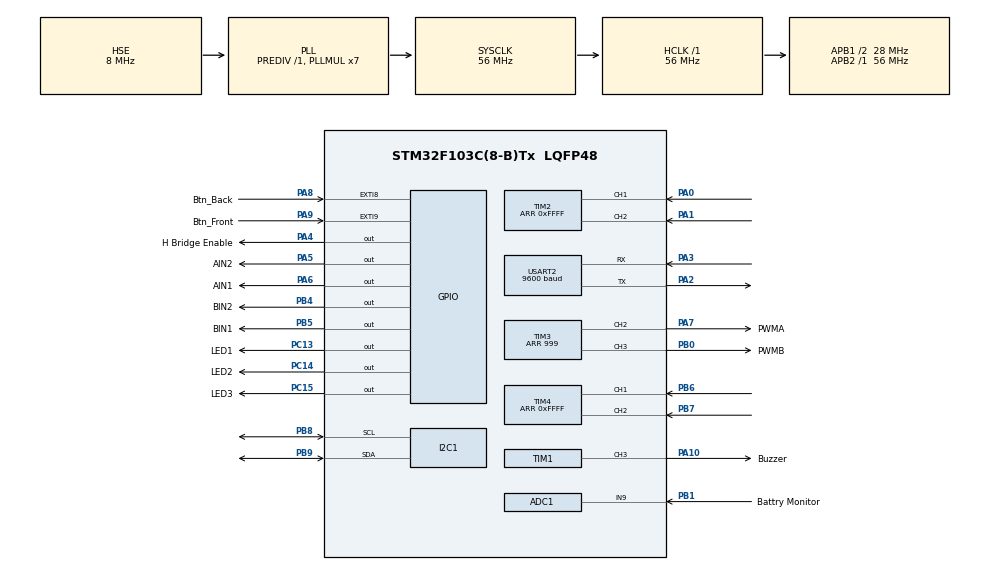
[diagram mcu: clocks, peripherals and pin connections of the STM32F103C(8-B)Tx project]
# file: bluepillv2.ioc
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ADC1.Channel-9\#ChannelRegularConversion=ADC_CHANNEL_9
ADC1.InjNumberOfConversion=0
ADC1.NbrOfConversionFlag=1
ADC1.Rank-9\#ChannelRegularConversion=1
ADC1.SamplingTime-9\#ChannelRegularConversion=ADC_SAMPLETIME_41CYCLES_5
ADC1.master=1
Mcu.Family=STM32F1
Mcu.Name=STM32F103C(8-B)Tx
Mcu.Package=LQFP48
NVIC.EXTI9_5_IRQn=true\:0\:0\:false\:false\:true\:true
NVIC.PriorityGroup=NVIC_PRIORITYGROUP_4
NVIC.USART2_IRQn=true\:0\:0\:false\:false\:true\:true
PA0-WKUP.Signal=S_TIM2_CH1_ETR
PA1.Signal=S_TIM2_CH2
PA10.GPIO_Label=Buzzer
PA10.Signal=S_TIM1_CH3
PA13.Mode=Serial_Wire
PA13.Signal=SYS_JTMS-SWDIO
PA14.Mode=Serial_Wire
PA14.Signal=SYS_JTCK-SWCLK
PA2.Mode=Asynchronous
PA2.Signal=USART2_TX
PA3.Mode=Asynchronous
PA3.Signal=USART2_RX
PA4.GPIO_Label=H Bridge Enable
PA4.Signal=GPIO_Output
PA5.GPIO_Label=AIN2
PA5.Signal=GPIO_Output
PA6.GPIO_Label=AIN1
PA6.Signal=GPIO_Output
PA7.GPIO_Label=PWMA
PA7.Signal=S_TIM3_CH2
PA8.GPIO_Label=Btn_Back
PA8.GPIO_ModeDefaultEXTI=GPIO_MODE_IT_RISING
PA8.Signal=GPXTI8
PA9.GPIO_Label=Btn_Front
PA9.GPIO_ModeDefaultEXTI=GPIO_MODE_IT_FALLING
PA9.Signal=GPXTI9
PB0.GPIO_Label=PWMB
PB0.Signal=S_TIM3_CH3
PB1.GPIO_Label=Battry Monitor
PB1.Signal=ADCx_IN9
PB4.GPIO_Label=BIN2
PB4.Signal=GPIO_Output
PB5.GPIO_Label=BIN1
PB5.Signal=GPIO_Output
PB6.Signal=S_TIM4_CH1
PB7.Signal=S_TIM4_CH2
PB8.Mode=I2C
PB8.Signal=I2C1_SCL
PB9.Mode=I2C
PB9.Signal=I2C1_SDA
PC13-TAMPER-RTC.GPIO_Label=LED1
PC13-TAMPER-RTC.Signal=GPIO_Output
PC14-OSC32_IN.GPIO_Label=LED2
PC14-OSC32_IN.Signal=GPIO_Output
PC15-OSC32_OUT.GPIO_Label=LED3
PC15-OSC32_OUT.Signal=GPIO_Output
PD0-OSC_IN.Mode=HSE-External-Oscillator
PD0-OSC_IN.Signal=RCC_OSC_IN
PD1-OSC_OUT.Mode=HSE-External-Oscillator
PD1-OSC_OUT.Signal=RCC_OSC_OUT
ProjectManager.HeapSize=0x200
ProjectManager.StackSize=0x400
ProjectManager.TargetToolchain=MDK-ARM V5
RCC.ADCPresc=RCC_ADCPCLK2_DIV4
RCC.AHBFreq_Value=56000000
RCC.APB1CLKDivider=RCC_HCLK_DIV2
RCC.APB1Freq_Value=28000000
RCC.APB1TimFreq_Value=56000000
RCC.APB2Freq_Value=56000000
RCC.APB2TimFreq_Value=56000000
RCC.HCLKFreq_Value=56000000
RCC.PLLMUL=RCC_PLL_MUL7
RCC.PLLSourceVirtual=RCC_PLLSOURCE_HSE
RCC.SYSCLKFreq_VALUE=56000000
RCC.SYSCLKSource=RCC_SYSCLKSOURCE_PLLCLK
RCC.USBFreq_Value=56000000
SH.ADCx_IN9.0=ADC1_IN9,IN9
SH.S_TIM1_CH3.0=TIM1_CH3,PWM Generation3 CH3
SH.S_TIM2_CH1_ETR.0=TIM2_CH1,Encoder_Interface
SH.S_TIM2_CH2.0=TIM2_CH2,Encoder_Interface
SH.S_TIM3_CH2.0=TIM3_CH2,PWM Generation2 CH2
SH.S_TIM3_CH3.0=TIM3_CH3,PWM Generation3 CH3
SH.S_TIM4_CH1.0=TIM4_CH1,Encoder_Interface
SH.S_TIM4_CH2.0=TIM4_CH2,Encoder_Interface
TIM1.Channel-PWM\ Generation3\ CH3=TIM_CHANNEL_3
TIM1.Period=255-1
TIM1.Prescaler=855-1
TIM2.EncoderMode=TIM_ENCODERMODE_TI12
TIM2.Period=0xFFFF
TIM3.Channel-PWM\ Generation2\ CH2=TIM_CHANNEL_2
TIM3.Channel-PWM\ Generation3\ CH3=TIM_CHANNEL_3
TIM3.Period=999
TIM4.EncoderMode=TIM_ENCODERMODE_TI12
TIM4.Period=0xFFFF
USART2.BaudRate=9600
USART2.VirtualMode=VM_ASYNC
VP_TIM3_VS_ClockSourceINT.Mode=Internal
board=custom

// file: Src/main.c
/* USER CODE BEGIN Header */
/**
  ******************************************************************************
  * @file           : main.c
  * @brief          : Main program body
  ******************************************************************************
  ** This notice applies to any and all portions of this file
  * that are not between comment pairs USER CODE BEGIN and
  * USER CODE END. Other portions of this file, whether
  * inserted by the user or by software development tools
  * are owned by their respective copyright owners.
  *
  * COPYRIGHT(c) 2019 STMicroelectronics
  *
  * Redistribution and use in source and binary forms, with or without modification,
  * are permitted provided that the following conditions are met:
  *   1. Redistributions of source code must retain the above copyright notice,
  *      this list of conditions and the following disclaimer.
  *   2. Redistributions in binary form must reproduce the above copyright notice,
  *      this list of conditions and the following disclaimer in the documentation
  *      and/or other materials provided with the distribution.
  *   3. Neither the name of STMicroelectronics nor the names of its contributors
  *      may be used to endorse or promote products derived from this software
  *      without specific prior written permission.
  *
  * THIS SOFTWARE IS PROVIDED BY THE COPYRIGHT HOLDERS AND CONTRIBUTORS "AS IS"
  * AND ANY EXPRESS OR IMPLIED WARRANTIES, INCLUDING, BUT NOT LIMITED TO, THE
  * IMPLIED WARRANTIES OF MERCHANTABILITY AND FITNESS FOR A PARTICULAR PURPOSE ARE
  * DISCLAIMED. IN NO EVENT SHALL THE COPYRIGHT HOLDER OR CONTRIBUTORS BE LIABLE
  * FOR ANY DIRECT, INDIRECT, INCIDENTAL, SPECIAL, EXEMPLARY, OR CONSEQUENTIAL
  * DAMAGES (INCLUDING, BUT NOT LIMITED TO, PROCUREMENT OF SUBSTITUTE GOODS OR
  * SERVICES; LOSS OF USE, DATA, OR PROFITS; OR BUSINESS INTERRUPTION) HOWEVER
  * CAUSED AND ON ANY THEORY OF LIABILITY, WHETHER IN CONTRACT, STRICT LIABILITY,
  * OR TORT (INCLUDING NEGLIGENCE OR OTHERWISE) ARISING IN ANY WAY OUT OF THE USE
  * OF THIS SOFTWARE, EVEN IF ADVISED OF THE POSSIBILITY OF SUCH DAMAGE.
  *
  ******************************************************************************
  */
/* USER CODE END Header */

#include "main.h"

/* USER CODE BEGIN Includes */
#include "pwm.h"
#include "motor_control.h"
#include "adc.h"

/* USER CODE END Includes */

ADC_HandleTypeDef hadc1;

I2C_HandleTypeDef hi2c1;

TIM_HandleTypeDef htim1;
TIM_HandleTypeDef htim2;
TIM_HandleTypeDef htim3;
TIM_HandleTypeDef htim4;

UART_HandleTypeDef huart2;

/* USER CODE BEGIN PV */
int acceleration;
int rotDistance;
volatile float accelerationW;
int proc;
int rot;

float voltage;
float degs;
float radians;
float rotSpeed;

uint8_t commands[] = "flflflfl";
int go = 1;

/* USER CODE END PV */

void SystemClock_Config(void);
static void MX_GPIO_Init(void);
static void MX_TIM2_Init(void);
static void MX_USART2_UART_Init(void);
static void MX_TIM3_Init(void);
static void MX_TIM4_Init(void);
static void MX_I2C1_Init(void);
static void MX_ADC1_Init(void);
static void MX_TIM1_Init(void);

/* USER CODE BEGIN 0 */

// Code used for sending transmitting data via UART via the printf() function.
#ifdef __GNUC__
	#define PUTCHAR_PROTOTYPE int __io_putchar(int ch)
#else
	#define PUTCHAR_PROTOTYPE int fputc(int ch, FILE *f)
#endif
PUTCHAR_PROTOTYPE{
	HAL_UART_Transmit(&huart2, (uint8_t *) &ch, 1, 0xFFFF);
	return ch;
}

/* USER CODE END 0 */

int main(void)
{

  /* MCU Configuration--------------------------------------------------------*/

  /* Reset of all peripherals, Initializes the Flash interface and the Systick. */
  HAL_Init();

  /* Configure the system clock */
  SystemClock_Config();

  /* Initialize all configured peripherals */
  MX_GPIO_Init();
  MX_TIM2_Init();
  MX_USART2_UART_Init();
  MX_TIM3_Init();
  MX_TIM4_Init();
  MX_I2C1_Init();
  MX_ADC1_Init();
  MX_TIM1_Init();
  /* USER CODE BEGIN 2 */

  motorSetup();
	pwmSetup();

  /* USER CODE END 2 */

  /* Infinite loop */
  while (1)
  {

    /* USER CODE BEGIN 3 */

		//Used for testing rotation
		radians = degreesToRadians(degs);
		rotSpeed = rotSpeedToCounts(degs);
		//rotationLeft = rotToCounts(degs);

		printf("Encoder speed: %.2f m/s --- Battery voltage: %.2f \n\r", countsToSpeed(encoderChange) / 1000, batteryVoltage() );
		HAL_Delay(500);
		//Let the user know if the battery is running low.
		if(batteryVoltage() < 6.5){
			HAL_GPIO_WritePin(LED3_GPIO_Port, LED3_Pin, GPIO_PIN_SET); //red
			HAL_GPIO_WritePin(LED2_GPIO_Port, LED2_Pin, GPIO_PIN_RESET);//Green
			beep(150);
		}else{
			HAL_GPIO_WritePin(LED3_GPIO_Port, LED3_Pin, GPIO_PIN_RESET); //red
			HAL_GPIO_WritePin(LED2_GPIO_Port, LED2_Pin, GPIO_PIN_SET);//Green
			beep(0);
		}

		//Beep Sweep
		/*
		for(int i = 0; i < 256; i++){
			beep(i);
			HAL_Delay(5);
		}
		*/
		if(go){
			for(int i = 0; i < sizeof(commands); i++){
				if(commands[i] == 'f'){
					setPos += 180;
					HAL_Delay(2300);
				}else if(commands[i] == 'l'){
					setAngle += 90;
					HAL_Delay(1300);
				}
			}
			go = 0;
		}

		//Move Forward
		if(proc){
			// Set the reference to one cell distance;
			setPos += 180;
			//while(posErrorX > 1);
			// Wait for the error to be sufficiently small. while(posErrorX > 100);
			proc = 0;
		}
		if(rot){
			setAngle += 90;
			//while(posErrorW > 1);
			rot = 0;
		}
  }
  /* USER CODE END 3 */
}

void SystemClock_Config(void)
{
  RCC_OscInitTypeDef RCC_OscInitStruct = {0};
  RCC_ClkInitTypeDef RCC_ClkInitStruct = {0};
  RCC_PeriphCLKInitTypeDef PeriphClkInit = {0};

  /**Initializes the CPU, AHB and APB busses clocks
  */
  RCC_OscInitStruct.OscillatorType = RCC_OSCILLATORTYPE_HSE;
  RCC_OscInitStruct.HSEState = RCC_HSE_ON;
  RCC_OscInitStruct.HSEPredivValue = RCC_HSE_PREDIV_DIV1;
  RCC_OscInitStruct.HSIState = RCC_HSI_ON;
  RCC_OscInitStruct.PLL.PLLState = RCC_PLL_ON;
  RCC_OscInitStruct.PLL.PLLSource = RCC_PLLSOURCE_HSE;
  RCC_OscInitStruct.PLL.PLLMUL = RCC_PLL_MUL7;
  if (HAL_RCC_OscConfig(&RCC_OscInitStruct) != HAL_OK)
  {
    Error_Handler();
  }
  /**Initializes the CPU, AHB and APB busses clocks
  */
  RCC_ClkInitStruct.ClockType = RCC_CLOCKTYPE_HCLK|RCC_CLOCKTYPE_SYSCLK
                              |RCC_CLOCKTYPE_PCLK1|RCC_CLOCKTYPE_PCLK2;
  RCC_ClkInitStruct.SYSCLKSource = RCC_SYSCLKSOURCE_PLLCLK;
  RCC_ClkInitStruct.AHBCLKDivider = RCC_SYSCLK_DIV1;
  RCC_ClkInitStruct.APB1CLKDivider = RCC_HCLK_DIV2;
  RCC_ClkInitStruct.APB2CLKDivider = RCC_HCLK_DIV1;

  if (HAL_RCC_ClockConfig(&RCC_ClkInitStruct, FLASH_LATENCY_2) != HAL_OK)
  {
    Error_Handler();
  }
  PeriphClkInit.PeriphClockSelection = RCC_PERIPHCLK_ADC;
  PeriphClkInit.AdcClockSelection = RCC_ADCPCLK2_DIV4;
  if (HAL_RCCEx_PeriphCLKConfig(&PeriphClkInit) != HAL_OK)
  {
    Error_Handler();
  }
}

static void MX_ADC1_Init(void)
{

  ADC_ChannelConfTypeDef sConfig = {0};

  /**Common config
  */
  hadc1.Instance = ADC1;
  hadc1.Init.ScanConvMode = ADC_SCAN_DISABLE;
  hadc1.Init.ContinuousConvMode = DISABLE;
  hadc1.Init.DiscontinuousConvMode = DISABLE;
  hadc1.Init.ExternalTrigConv = ADC_SOFTWARE_START;
  hadc1.Init.DataAlign = ADC_DATAALIGN_RIGHT;
  hadc1.Init.NbrOfConversion = 1;
  if (HAL_ADC_Init(&hadc1) != HAL_OK)
  {
    Error_Handler();
  }
  /**Configure Regular Channel
  */
  sConfig.Channel = ADC_CHANNEL_9;
  sConfig.Rank = ADC_REGULAR_RANK_1;
  sConfig.SamplingTime = ADC_SAMPLETIME_41CYCLES_5;
  if (HAL_ADC_ConfigChannel(&hadc1, &sConfig) != HAL_OK)
  {
    Error_Handler();
  }

}

static void MX_I2C1_Init(void)
{

  hi2c1.Instance = I2C1;
  hi2c1.Init.ClockSpeed = 100000;
  hi2c1.Init.DutyCycle = I2C_DUTYCYCLE_2;
  hi2c1.Init.OwnAddress1 = 0;
  hi2c1.Init.AddressingMode = I2C_ADDRESSINGMODE_7BIT;
  hi2c1.Init.DualAddressMode = I2C_DUALADDRESS_DISABLE;
  hi2c1.Init.OwnAddress2 = 0;
  hi2c1.Init.GeneralCallMode = I2C_GENERALCALL_DISABLE;
  hi2c1.Init.NoStretchMode = I2C_NOSTRETCH_DISABLE;
  if (HAL_I2C_Init(&hi2c1) != HAL_OK)
  {
    Error_Handler();
  }

}

static void MX_TIM1_Init(void)
{

  TIM_MasterConfigTypeDef sMasterConfig = {0};
  TIM_OC_InitTypeDef sConfigOC = {0};
  TIM_BreakDeadTimeConfigTypeDef sBreakDeadTimeConfig = {0};

  htim1.Instance = TIM1;
  htim1.Init.Prescaler = 855-1;
  htim1.Init.CounterMode = TIM_COUNTERMODE_UP;
  htim1.Init.Period = 255-1;
  htim1.Init.ClockDivision = TIM_CLOCKDIVISION_DIV1;
  htim1.Init.RepetitionCounter = 0;
  htim1.Init.AutoReloadPreload = TIM_AUTORELOAD_PRELOAD_DISABLE;
  if (HAL_TIM_PWM_Init(&htim1) != HAL_OK)
  {
    Error_Handler();
  }
  sMasterConfig.MasterOutputTrigger = TIM_TRGO_RESET;
  sMasterConfig.MasterSlaveMode = TIM_MASTERSLAVEMODE_DISABLE;
  if (HAL_TIMEx_MasterConfigSynchronization(&htim1, &sMasterConfig) != HAL_OK)
  {
    Error_Handler();
  }
  sConfigOC.OCMode = TIM_OCMODE_PWM1;
  sConfigOC.Pulse = 0;
  sConfigOC.OCPolarity = TIM_OCPOLARITY_HIGH;
  sConfigOC.OCNPolarity = TIM_OCNPOLARITY_HIGH;
  sConfigOC.OCFastMode = TIM_OCFAST_DISABLE;
  sConfigOC.OCIdleState = TIM_OCIDLESTATE_RESET;
  sConfigOC.OCNIdleState = TIM_OCNIDLESTATE_RESET;
  if (HAL_TIM_PWM_ConfigChannel(&htim1, &sConfigOC, TIM_CHANNEL_3) != HAL_OK)
  {
    Error_Handler();
  }
  sBreakDeadTimeConfig.OffStateRunMode = TIM_OSSR_DISABLE;
  sBreakDeadTimeConfig.OffStateIDLEMode = TIM_OSSI_DISABLE;
  sBreakDeadTimeConfig.LockLevel = TIM_LOCKLEVEL_OFF;
  sBreakDeadTimeConfig.DeadTime = 0;
  sBreakDeadTimeConfig.BreakState = TIM_BREAK_DISABLE;
  sBreakDeadTimeConfig.BreakPolarity = TIM_BREAKPOLARITY_HIGH;
  sBreakDeadTimeConfig.AutomaticOutput = TIM_AUTOMATICOUTPUT_DISABLE;
  if (HAL_TIMEx_ConfigBreakDeadTime(&htim1, &sBreakDeadTimeConfig) != HAL_OK)
  {
    Error_Handler();
  }
  HAL_TIM_MspPostInit(&htim1);

}

static void MX_TIM2_Init(void)
{

  TIM_Encoder_InitTypeDef sConfig = {0};
  TIM_MasterConfigTypeDef sMasterConfig = {0};

  htim2.Instance = TIM2;
  htim2.Init.Prescaler = 0;
  htim2.Init.CounterMode = TIM_COUNTERMODE_UP;
  htim2.Init.Period = 0xFFFF;
  htim2.Init.ClockDivision = TIM_CLOCKDIVISION_DIV1;
  htim2.Init.AutoReloadPreload = TIM_AUTORELOAD_PRELOAD_DISABLE;
  sConfig.EncoderMode = TIM_ENCODERMODE_TI12;
  sConfig.IC1Polarity = TIM_ICPOLARITY_RISING;
  sConfig.IC1Selection = TIM_ICSELECTION_DIRECTTI;
  sConfig.IC1Prescaler = TIM_ICPSC_DIV1;
  sConfig.IC1Filter = 0;
  sConfig.IC2Polarity = TIM_ICPOLARITY_RISING;
  sConfig.IC2Selection = TIM_ICSELECTION_DIRECTTI;
  sConfig.IC2Prescaler = TIM_ICPSC_DIV1;
  sConfig.IC2Filter = 0;
  if (HAL_TIM_Encoder_Init(&htim2, &sConfig) != HAL_OK)
  {
    Error_Handler();
  }
  sMasterConfig.MasterOutputTrigger = TIM_TRGO_RESET;
  sMasterConfig.MasterSlaveMode = TIM_MASTERSLAVEMODE_DISABLE;
  if (HAL_TIMEx_MasterConfigSynchronization(&htim2, &sMasterConfig) != HAL_OK)
  {
    Error_Handler();
  }

}

static void MX_TIM3_Init(void)
{

  TIM_ClockConfigTypeDef sClockSourceConfig = {0};
  TIM_MasterConfigTypeDef sMasterConfig = {0};
  TIM_OC_InitTypeDef sConfigOC = {0};

  htim3.Instance = TIM3;
  htim3.Init.Prescaler = 0;
  htim3.Init.CounterMode = TIM_COUNTERMODE_UP;
  htim3.Init.Period = 999;
  htim3.Init.ClockDivision = TIM_CLOCKDIVISION_DIV1;
  htim3.Init.AutoReloadPreload = TIM_AUTORELOAD_PRELOAD_DISABLE;
  if (HAL_TIM_Base_Init(&htim3) != HAL_OK)
  {
    Error_Handler();
  }
  sClockSourceConfig.ClockSource = TIM_CLOCKSOURCE_INTERNAL;
  if (HAL_TIM_ConfigClockSource(&htim3, &sClockSourceConfig) != HAL_OK)
  {
    Error_Handler();
  }
  if (HAL_TIM_PWM_Init(&htim3) != HAL_OK)
  {
    Error_Handler();
  }
  sMasterConfig.MasterOutputTrigger = TIM_TRGO_RESET;
  sMasterConfig.MasterSlaveMode = TIM_MASTERSLAVEMODE_DISABLE;
  if (HAL_TIMEx_MasterConfigSynchronization(&htim3, &sMasterConfig) != HAL_OK)
  {
    Error_Handler();
  }
  sConfigOC.OCMode = TIM_OCMODE_PWM1;
  sConfigOC.Pulse = 0;
  sConfigOC.OCPolarity = TIM_OCPOLARITY_HIGH;
  sConfigOC.OCFastMode = TIM_OCFAST_DISABLE;
  if (HAL_TIM_PWM_ConfigChannel(&htim3, &sConfigOC, TIM_CHANNEL_2) != HAL_OK)
  {
    Error_Handler();
  }
  if (HAL_TIM_PWM_ConfigChannel(&htim3, &sConfigOC, TIM_CHANNEL_3) != HAL_OK)
  {
    Error_Handler();
  }
  HAL_TIM_MspPostInit(&htim3);

}

static void MX_TIM4_Init(void)
{

  TIM_Encoder_InitTypeDef sConfig = {0};
  TIM_MasterConfigTypeDef sMasterConfig = {0};

  htim4.Instance = TIM4;
  htim4.Init.Prescaler = 0;
  htim4.Init.CounterMode = TIM_COUNTERMODE_UP;
  htim4.Init.Period = 0xFFFF;
  htim4.Init.ClockDivision = TIM_CLOCKDIVISION_DIV1;
  htim4.Init.AutoReloadPreload = TIM_AUTORELOAD_PRELOAD_DISABLE;
  sConfig.EncoderMode = TIM_ENCODERMODE_TI12;
  sConfig.IC1Polarity = TIM_ICPOLARITY_RISING;
  sConfig.IC1Selection = TIM_ICSELECTION_DIRECTTI;
  sConfig.IC1Prescaler = TIM_ICPSC_DIV1;
  sConfig.IC1Filter = 0;
  sConfig.IC2Polarity = TIM_ICPOLARITY_RISING;
  sConfig.IC2Selection = TIM_ICSELECTION_DIRECTTI;
  sConfig.IC2Prescaler = TIM_ICPSC_DIV1;
  sConfig.IC2Filter = 0;
  if (HAL_TIM_Encoder_Init(&htim4, &sConfig) != HAL_OK)
  {
    Error_Handler();
  }
  sMasterConfig.MasterOutputTrigger = TIM_TRGO_RESET;
  sMasterConfig.MasterSlaveMode = TIM_MASTERSLAVEMODE_DISABLE;
  if (HAL_TIMEx_MasterConfigSynchronization(&htim4, &sMasterConfig) != HAL_OK)
  {
    Error_Handler();
  }

}

static void MX_USART2_UART_Init(void)
{

  huart2.Instance = USART2;
  huart2.Init.BaudRate = 9600;
  huart2.Init.WordLength = UART_WORDLENGTH_8B;
  huart2.Init.StopBits = UART_STOPBITS_1;
  huart2.Init.Parity = UART_PARITY_NONE;
  huart2.Init.Mode = UART_MODE_TX_RX;
  huart2.Init.HwFlowCtl = UART_HWCONTROL_NONE;
  huart2.Init.OverSampling = UART_OVERSAMPLING_16;
  if (HAL_UART_Init(&huart2) != HAL_OK)
  {
    Error_Handler();
  }

}

static void MX_GPIO_Init(void)
{
  GPIO_InitTypeDef GPIO_InitStruct = {0};

  /* GPIO Ports Clock Enable */
  __HAL_RCC_GPIOC_CLK_ENABLE();
  __HAL_RCC_GPIOD_CLK_ENABLE();
  __HAL_RCC_GPIOA_CLK_ENABLE();
  __HAL_RCC_GPIOB_CLK_ENABLE();

  /*Configure GPIO pin Output Level */
  HAL_GPIO_WritePin(GPIOC, LED1_Pin|LED2_Pin|LED3_Pin, GPIO_PIN_RESET);

  /*Configure GPIO pin Output Level */
  HAL_GPIO_WritePin(GPIOA, H_Bridge_Enable_Pin|AIN2_Pin|AIN1_Pin, GPIO_PIN_RESET);

  /*Configure GPIO pin Output Level */
  HAL_GPIO_WritePin(GPIOB, BIN2_Pin|BIN1_Pin, GPIO_PIN_RESET);

  /*Configure GPIO pins : LED1_Pin LED2_Pin LED3_Pin */
  GPIO_InitStruct.Pin = LED1_Pin|LED2_Pin|LED3_Pin;
  GPIO_InitStruct.Mode = GPIO_MODE_OUTPUT_PP;
  GPIO_InitStruct.Pull = GPIO_NOPULL;
  GPIO_InitStruct.Speed = GPIO_SPEED_FREQ_LOW;
  HAL_GPIO_Init(GPIOC, &GPIO_InitStruct);

  /*Configure GPIO pins : H_Bridge_Enable_Pin AIN2_Pin AIN1_Pin */
  GPIO_InitStruct.Pin = H_Bridge_Enable_Pin|AIN2_Pin|AIN1_Pin;
  GPIO_InitStruct.Mode = GPIO_MODE_OUTPUT_PP;
  GPIO_InitStruct.Pull = GPIO_NOPULL;
  GPIO_InitStruct.Speed = GPIO_SPEED_FREQ_LOW;
  HAL_GPIO_Init(GPIOA, &GPIO_InitStruct);

  /*Configure GPIO pin : Btn_Back_Pin */
  GPIO_InitStruct.Pin = Btn_Back_Pin;
  GPIO_InitStruct.Mode = GPIO_MODE_IT_RISING;
  GPIO_InitStruct.Pull = GPIO_NOPULL;
  HAL_GPIO_Init(Btn_Back_GPIO_Port, &GPIO_InitStruct);

  /*Configure GPIO pin : Btn_Front_Pin */
  GPIO_InitStruct.Pin = Btn_Front_Pin;
  GPIO_InitStruct.Mode = GPIO_MODE_IT_FALLING;
  GPIO_InitStruct.Pull = GPIO_NOPULL;
  HAL_GPIO_Init(Btn_Front_GPIO_Port, &GPIO_InitStruct);

  /*Configure GPIO pins : BIN2_Pin BIN1_Pin */
  GPIO_InitStruct.Pin = BIN2_Pin|BIN1_Pin;
  GPIO_InitStruct.Mode = GPIO_MODE_OUTPUT_PP;
  GPIO_InitStruct.Pull = GPIO_NOPULL;
  GPIO_InitStruct.Speed = GPIO_SPEED_FREQ_LOW;
  HAL_GPIO_Init(GPIOB, &GPIO_InitStruct);

  /* EXTI interrupt init*/
  HAL_NVIC_SetPriority(EXTI9_5_IRQn, 0, 0);
  HAL_NVIC_EnableIRQ(EXTI9_5_IRQn);

}

void Error_Handler(void)
{
}

/************************ (C) COPYRIGHT STMicroelectronics *****END OF FILE****/
